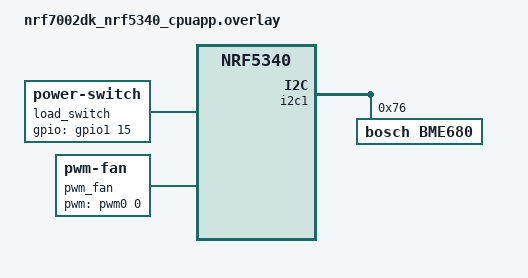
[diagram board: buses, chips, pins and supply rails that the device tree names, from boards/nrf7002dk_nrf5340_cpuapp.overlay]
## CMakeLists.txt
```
#
# Copyright (c) 2021 Nordic Semiconductor ASA
#
# SPDX-License-Identifier: LicenseRef-Nordic-5-Clause
#

cmake_minimum_required(VERSION 3.20.0)

get_filename_component(MATTER_MODULE_ROOT $ENV{ZEPHYR_BASE}/../modules/lib/matter REALPATH)

# Set Kconfig root files that will be processed as a first Kconfig for used child images.
set(mcuboot_KCONFIG_ROOT ${MATTER_MODULE_ROOT}/config/nrfconnect/chip-module/Kconfig.mcuboot.root)
set(multiprotocol_rpmsg_KCONFIG_ROOT ${MATTER_MODULE_ROOT}/config/nrfconnect/chip-module/Kconfig.multiprotocol_rpmsg.root)
set(hci_rpmsg_KCONFIG_ROOT ${MATTER_MODULE_ROOT}/config/nrfconnect/chip-module/Kconfig.hci_rpmsg.root)

# For prj.conf the CONF_FILE is empty. In other case extract the exact file name from the path string.
if(CONF_FILE)
    get_filename_component(CONFIG_FILE_NAME ${CONF_FILE} NAME)
endif()

if(NOT CONFIG_FILE_NAME STREQUAL "prj_no_dfu.conf")
    set(PM_STATIC_YML_FILE ${CMAKE_CURRENT_SOURCE_DIR}/configuration/${BOARD}/pm_static_dfu.yml)
endif()

find_package(Zephyr HINTS $ENV{ZEPHYR_BASE})

project(matter-template)

set(COMMON_ROOT ${ZEPHYR_NRF_MODULE_DIR}/samples/matter/common)
set(NLIO_ROOT ${MATTER_MODULE_ROOT}/third_party/nlio/repo)
include(${MATTER_MODULE_ROOT}/config/nrfconnect/app/enable-gnu-std.cmake)
include(${MATTER_MODULE_ROOT}/src/app/chip_data_model.cmake)

# NORDIC SDK APP START
target_include_directories(app PRIVATE
    src
    ${COMMON_ROOT}/src
    ${NLIO_ROOT}/include
    ${MATTER_MODULE_ROOT}/zzz_generated/app-common
)

target_sources(app PRIVATE
    src/app_task.cpp
    src/main.cpp
    src/zcl_callbacks.cpp
    src/zap-generated/IMClusterCommandHandler.cpp
    src/zap-generated/callback-stub.cpp
    ${COMMON_ROOT}/src/led_widget.cpp
)

if(CONFIG_CHIP_OTA_REQUESTOR)
    target_sources(app PRIVATE ${COMMON_ROOT}/src/ota_util.cpp)
endif()

chip_configure_data_model(app
    INCLUDE_SERVER
    BYPASS_IDL
    GEN_DIR src/zap-generated
    ZAP_FILE ${CMAKE_CURRENT_SOURCE_DIR}/src/plant-cabinet-controller.zap
)
# NORDIC SDK APP END
```

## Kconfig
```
#
# Copyright (c) 2022 Nordic Semiconductor
#
# SPDX-License-Identifier: LicenseRef-Nordic-5-Clause
#
mainmenu "Matter nRF Connect Template Example Application"

# Sample configuration used for Thread networking
if NET_L2_OPENTHREAD

choice OPENTHREAD_NORDIC_LIBRARY_CONFIGURATION
	default OPENTHREAD_NORDIC_LIBRARY_MTD
endchoice

choice OPENTHREAD_DEVICE_TYPE
	default OPENTHREAD_MTD
endchoice

endif # NET_L2_OPENTHREAD

source "${ZEPHYR_BASE}/../modules/lib/matter/config/nrfconnect/chip-module/Kconfig.features"
source "${ZEPHYR_BASE}/../modules/lib/matter/config/nrfconnect/chip-module/Kconfig.defaults"
source "Kconfig.zephyr"

module = APP
module-str = APP
source "subsys/logging/Kconfig.template.log_config"
```

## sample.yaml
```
sample:
  description: Matter Template sample
  name: Matter Template
tests:
  # Excluded in quarantine.yaml to limit resources usage in integration builds
  sample.matter.template.release:
    build_only: true
    extra_args: CONF_FILE=prj_release.conf
    integration_platforms:
      - nrf7002dk_nrf5340_cpuapp
    platform_allow: nrf7002dk_nrf5340_cpuapp
  sample.matter.template.no_dfu:
    build_only: true
    extra_args: CONF_FILE=prj_no_dfu.conf
    integration_platforms:
      - nrf21540dk_nrf52840
    platform_allow: >
      nrf52840dk_nrf52840 nrf21540dk_nrf52840 nrf5340dk_nrf5340_cpuapp nrf7002dk_nrf5340_cpuapp
  sample.matter.template.debug:
    build_only: true
    integration_platforms:
      - nrf7002dk_nrf5340_cpuapp
    platform_allow: nrf7002dk_nrf5340_cpuapp
```

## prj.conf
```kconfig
#
# Copyright (c) 2021 Nordic Semiconductor ASA
#
# SPDX-License-Identifier: LicenseRef-Nordic-5-Clause
#

# This sample uses Kconfig.defaults to set options common for all
# samples. This file should contain only options specific for this sample
# or overrides of default values.

# Enable CHIP
CONFIG_CHIP=y
CONFIG_CHIP_ENABLE_PAIRING_AUTOSTART=y
CONFIG_CHIP_PROJECT_CONFIG="src/chip_project_config.h"
# 32768 == 0x8000 (example Product ID added temporaly,
# but it must be changed with proper PID from the list:
# https://github.com/project-chip/connectedhomeip/blob/482e6fd03196a6de45465a90003947ef4b86e0b1/docs/examples/discussion/PID_allocation_for_example_apps.md)
CONFIG_CHIP_DEVICE_PRODUCT_ID=32768
CONFIG_STD_CPP14=y

# Add support for LEDs and buttons on Nordic development kits
CONFIG_DK_LIBRARY=y

# Bluetooth Low Energy configuration
CONFIG_BT_DEVICE_NAME="PlantCabinet"

# Other settings
CONFIG_THREAD_NAME=y
CONFIG_MPU_STACK_GUARD=y
CONFIG_RESET_ON_FATAL_ERROR=n
CONFIG_CHIP_LIB_SHELL=y

# Disable NFC commissioning
CONFIG_CHIP_NFC_COMMISSIONING=n

# Reduce application size
CONFIG_USE_SEGGER_RTT=n

# Logging
CONFIG_APP_LOG_LEVEL_DBG=y

# Sensor
CONFIG_I2C=y
CONFIG_SENSOR=y

# GPIO
CONFIG_GPIO=y

# PWM
CONFIG_PWM=y
```

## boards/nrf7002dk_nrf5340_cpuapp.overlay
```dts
/*
 * Copyright (c) 2023 Philipp Manstein <philipp.gm@gmail.com>
 *
 * SPDX-License-Identifier: LicenseRef-Nordic-5-Clause
 */

#include <zephyr/dt-bindings/ipc_service/static_vrings.h>

/ {
	chosen {
		nordic,pm-ext-flash = &mx25r64;
	};

	load_switch: load_switch {
		compatible = "power-switch";
		gpios = <&gpio1 15 GPIO_ACTIVE_HIGH>;
	};

	pwm_fan: pwm_fan {
		compatible = "pwm-fan";
		pwms = <&pwm0 0 PWM_MSEC(20) PWM_POLARITY_NORMAL>;
		off-pulse = <PWM_USEC(0)>;
		low-pulse = <PWM_USEC(500)>;
		mid-pulse = <PWM_USEC(1250)>;
		high-pulse = <PWM_USEC(2500)>;
	};
};

/* Set IPC thread priority to the highest value to not collide with other threads. */
&ipc0 {
	zephyr,priority = <0 PRIO_COOP>;
};

&i2c1 {
	bme680@76 {
		compatible = "bosch,bme680";
		reg = <0x76>;
	};
};
```

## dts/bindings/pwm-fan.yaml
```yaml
# Copyright (c) 2023 Philipp Manstein
# SPDX-License-Identifier: Apache-2.0

description: PWM-driven fan control.

compatible: "pwm-fan"

include: base.yaml

properties:
  pwms:
    required: true
    type: phandle-array
    description: PWM specifier driving the fan.

  off-pulse:
    required: true
    type: int
    description: Off pulse width (nanoseconds).

  low-pulse:
    required: true
    type: int
    description: Low pulse width (nanoseconds).

  mid-pulse:
    required: true
    type: int
    description: Mid pulse width (nanoseconds).

  high-pulse:
    required: true
    type: int
    description: High pulse width (nanoseconds).
```

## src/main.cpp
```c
/*
 * Copyright (c) 2021 Nordic Semiconductor ASA
 *
 * SPDX-License-Identifier: LicenseRef-Nordic-5-Clause
 */

#include "app_task.h"

#include <zephyr/logging/log.h>

LOG_MODULE_REGISTER(app, CONFIG_APP_LOG_LEVEL);

int main()
{
	CHIP_ERROR err = AppTask::Instance().StartApp();

	LOG_ERR("Exited with code %" CHIP_ERROR_FORMAT, err.Format());
	return err == CHIP_NO_ERROR ? EXIT_SUCCESS : EXIT_FAILURE;
}
```

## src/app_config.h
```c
/*
 * Copyright (c) 2022 Nordic Semiconductor ASA
 *
 * SPDX-License-Identifier: LicenseRef-Nordic-5-Clause
 */

#pragma once

/* ---- Template App Config ---- */

#include "board_util.h"

#define FUNCTION_BUTTON DK_BTN1
#define FUNCTION_BUTTON_MASK DK_BTN1_MSK

#define SYSTEM_STATE_LED DK_LED1
#define FACTORY_RESET_SIGNAL_LED DK_LED2
```

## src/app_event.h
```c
/*
 * Copyright (c) 2021 Nordic Semiconductor ASA
 *
 * SPDX-License-Identifier: LicenseRef-Nordic-5-Clause
 */

#pragma once

#include <cstdint>

#include "event_types.h"

class LEDWidget;

enum class AppEventType : uint8_t {
	None = 0,
	Button,
	ButtonPushed,
	ButtonReleased,
	Timer,
	UpdateLedState,
	SensorMeasure,
	RelayOn,
	RelayOff,
	ControlFan
};

enum class ControlFanMode : uint8_t { Off = 0, Low, Mid, High };

enum class FunctionEvent : uint8_t { NoneSelected = 0, FactoryReset };

struct AppEvent {
	union {
		struct {
			uint8_t PinNo;
			uint8_t Action;
		} ButtonEvent;
		struct {
			void *Context;
		} TimerEvent;
		struct {
			LEDWidget *LedWidget;
		} UpdateLedStateEvent;
		struct {
			::ControlFanMode ControlFanMode;
		} ControlFanModeEvent;
	};

	AppEventType Type{ AppEventType::None };
	EventHandler Handler;
};
```

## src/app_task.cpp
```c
/*
 * Copyright (c) 2021 Nordic Semiconductor ASA
 *
 * SPDX-License-Identifier: LicenseRef-Nordic-5-Clause
 */

#include "app_task.h"
#include "app_config.h"
#include "led_util.h"

#include <platform/CHIPDeviceLayer.h>

#include "board_util.h"
#include <app-common/zap-generated/attributes/Accessors.h>
#include <app-common/zap-generated/cluster-objects.h>
#include <app/server/OnboardingCodesUtil.h>
#include <app/server/Server.h>
#include <credentials/DeviceAttestationCredsProvider.h>
#include <credentials/examples/DeviceAttestationCredsExample.h>
#include <lib/support/CHIPMem.h>
#include <lib/support/CodeUtils.h>
#include <system/SystemError.h>

#ifdef CONFIG_CHIP_WIFI
#include <app/clusters/network-commissioning/network-commissioning.h>
#include <platform/nrfconnect/wifi/NrfWiFiDriver.h>
#endif

#ifdef CONFIG_CHIP_OTA_REQUESTOR
#include "ota_util.h"
#endif

#include <dk_buttons_and_leds.h>
#include <zephyr/drivers/gpio.h>
#include <zephyr/drivers/pwm.h>
#include <zephyr/drivers/sensor.h>
#include <zephyr/kernel.h>
#include <zephyr/logging/log.h>

LOG_MODULE_DECLARE(app, CONFIG_APP_LOG_LEVEL);

using namespace ::chip;
using namespace ::chip::app;
using namespace ::chip::Credentials;
using namespace ::chip::DeviceLayer;

namespace
{
constexpr size_t kAppEventQueueSize = 10;
constexpr uint32_t kFactoryResetTriggerTimeout = 6000;

K_MSGQ_DEFINE(sAppEventQueue, sizeof(AppEvent), kAppEventQueueSize, alignof(AppEvent));
k_timer sFunctionTimer;
k_timer sSensorTimer;

LEDWidget sStatusLED;
FactoryResetLEDsWrapper<1> sFactoryResetLEDs{ { FACTORY_RESET_SIGNAL_LED } };

bool sIsNetworkProvisioned = false;
bool sIsNetworkEnabled = false;
bool sHaveBLEConnections = false;

const struct device *sBme680SensorDev = DEVICE_DT_GET_ONE(bosch_bme680);

static const struct gpio_dt_spec load_switch = GPIO_DT_SPEC_GET(DT_NODELABEL(load_switch), gpios);

static const struct pwm_dt_spec pwm_fan = PWM_DT_SPEC_GET(DT_NODELABEL(pwm_fan));
static const uint32_t off_pulse = DT_PROP(DT_NODELABEL(pwm_fan), off_pulse);
static const uint32_t low_pulse = DT_PROP(DT_NODELABEL(pwm_fan), low_pulse);
static const uint32_t mid_pulse = DT_PROP(DT_NODELABEL(pwm_fan), mid_pulse);
static const uint32_t high_pulse = DT_PROP(DT_NODELABEL(pwm_fan), high_pulse);
} /* namespace */

namespace LedConsts
{
namespace StatusLed
{
	namespace Unprovisioned
	{
		constexpr uint32_t kOn_ms{ 100 };
		constexpr uint32_t kOff_ms{ kOn_ms };
	} /* namespace Unprovisioned */
	namespace Provisioned
	{
		constexpr uint32_t kOn_ms{ 50 };
		constexpr uint32_t kOff_ms{ 950 };
	} /* namespace Provisioned */

} /* namespace StatusLed */
} /* namespace LedConsts */

#ifdef CONFIG_CHIP_WIFI
app::Clusters::NetworkCommissioning::Instance
	sWiFiCommissioningInstance(0, &(NetworkCommissioning::NrfWiFiDriver::Instance()));
#endif

CHIP_ERROR AppTask::Init()
{
	/* Initialize CHIP stack */
	LOG_INF("Init CHIP stack");

	CHIP_ERROR err = chip::Platform::MemoryInit();
	if (err != CHIP_NO_ERROR) {
		LOG_ERR("Platform::MemoryInit() failed");
		return err;
	}

	err = PlatformMgr().InitChipStack();
	if (err != CHIP_NO_ERROR) {
		LOG_ERR("PlatformMgr().InitChipStack() failed");
		return err;
	}

#if defined(CONFIG_NET_L2_OPENTHREAD)
	err = ThreadStackMgr().InitThreadStack();
	if (err != CHIP_NO_ERROR) {
		LOG_ERR("ThreadStackMgr().InitThreadStack() failed: %s", ErrorStr(err));
		return err;
	}

#ifdef CONFIG_OPENTHREAD_MTD_SED
	err = ConnectivityMgr().SetThreadDeviceType(ConnectivityManager::kThreadDeviceType_SleepyEndDevice);
#elif CONFIG_OPENTHREAD_MTD
	err = ConnectivityMgr().SetThreadDeviceType(ConnectivityManager::kThreadDeviceType_MinimalEndDevice);
#else
	err = ConnectivityMgr().SetThreadDeviceType(ConnectivityManager::kThreadDeviceType_Router);
#endif /* CONFIG_OPENTHREAD_MTD_SED */
	if (err != CHIP_NO_ERROR) {
		LOG_ERR("ConnectivityMgr().SetThreadDeviceType() failed: %s", ErrorStr(err));
		return err;
	}

#elif defined(CONFIG_CHIP_WIFI)
	sWiFiCommissioningInstance.Init();
#else
	return CHIP_ERROR_INTERNAL;
#endif /* CONFIG_NET_L2_OPENTHREAD */

	/* Initialize LEDs */
	LEDWidget::InitGpio();
	LEDWidget::SetStateUpdateCallback(LEDStateUpdateHandler);

	sStatusLED.Init(SYSTEM_STATE_LED);

	UpdateStatusLED();

	/* Initialize buttons */
	int ret = dk_buttons_init(ButtonEventHandler);
	if (ret) {
		LOG_ERR("dk_buttons_init() failed");
		return chip::System::MapErrorZephyr(ret);
	}

	/* Initialize  BME680 sensor*/
	if (!device_is_ready(sBme680SensorDev)) {
		LOG_ERR("BME680 sensor device not ready");
		return chip::System::MapErrorZephyr(-ENODEV);
	}

	/* Initialiaze LED relay */
	if (!gpio_is_ready_dt(&load_switch)) {
		LOG_ERR("The load switch pin GPIO port is not ready");
		return chip::System::MapErrorZephyr(-ENODEV);
	}

	ret = gpio_pin_configure_dt(&load_switch, GPIO_OUTPUT_INACTIVE);
	if (ret != 0) {
		LOG_ERR("Configuring GPIO pin failed: %d", ret);
		return chip::System::MapErrorZephyr(-ENODEV);
	}

	/* Initialize PWM fan */
	if (!device_is_ready(pwm_fan.dev)) {
		LOG_ERR("PWM fan device not ready");
		return chip::System::MapErrorZephyr(-ENODEV);
	}

	ret = pwm_set_pulse_dt(&pwm_fan, 0u);

	/* Initialize function timer */
	k_timer_init(&sFunctionTimer, &AppTask::FunctionTimerTimeoutCallback, nullptr);
	k_timer_user_data_set(&sFunctionTimer, this);

	/* Initialize sensor timer */
	k_timer_init(&sSensorTimer, &AppTask::SensorTimerTimeoutCallback, nullptr);
	k_timer_user_data_set(&sSensorTimer, this);
	/* Start sensor timer */
	k_timer_start(&sSensorTimer, K_SECONDS(2), K_SECONDS(5));

	/* Initialize CHIP server */
#if CONFIG_CHIP_FACTORY_DATA
	ReturnErrorOnFailure(mFactoryDataProvider.Init());
	SetDeviceInstanceInfoProvider(&mFactoryDataProvider);
	SetDeviceAttestationCredentialsProvider(&mFactoryDataProvider);
	SetCommissionableDataProvider(&mFactoryDataProvider);
#else
	SetDeviceInstanceInfoProvider(&DeviceInstanceInfoProviderMgrImpl());
	SetDeviceAttestationCredentialsProvider(Examples::GetExampleDACProvider());
#endif

	static chip::CommonCaseDeviceServerInitParams initParams;
	(void)initParams.InitializeStaticResourcesBeforeServerInit();

	ReturnErrorOnFailure(chip::Server::GetInstance().Init(initParams));
	ConfigurationMgr().LogDeviceConfig();
	PrintOnboardingCodes(chip::RendezvousInformationFlags(chip::RendezvousInformationFlag::kBLE));

	/*
	 * Add CHIP event handler and start CHIP thread.
	 * Note that all the initialization code should happen prior to this point to avoid data races
	 * between the main and the CHIP threads.
	 */
	PlatformMgr().AddEventHandler(ChipEventHandler, 0);

	err = PlatformMgr().StartEventLoopTask();
	if (err != CHIP_NO_ERROR) {
		LOG_ERR("PlatformMgr().StartEventLoopTask() failed");
		return err;
	}

	return CHIP_NO_ERROR;
}

CHIP_ERROR AppTask::StartApp()
{
	ReturnErrorOnFailure(Init());

	AppEvent event = {};

	while (true) {
		k_msgq_get(&sAppEventQueue, &event, K_FOREVER);
		DispatchEvent(event);
	}

	return CHIP_NO_ERROR;
}

void AppTask::ButtonEventHandler(uint32_t buttonState, uint32_t hasChanged)
{
	AppEvent button_event;
	button_event.Type = AppEventType::Button;

	if (FUNCTION_BUTTON_MASK & hasChanged) {
		button_event.ButtonEvent.PinNo = FUNCTION_BUTTON;
		button_event.ButtonEvent.Action =
			static_cast<uint8_t>((FUNCTION_BUTTON_MASK & buttonState) ? AppEventType::ButtonPushed :
										    AppEventType::ButtonReleased);
		button_event.Handler = FunctionHandler;
		PostEvent(button_event);
	}
}

void AppTask::FunctionTimerTimeoutCallback(k_timer *timer)
{
	if (!timer) {
		return;
	}

	AppEvent event;
	event.Type = AppEventType::Timer;
	event.TimerEvent.Context = k_timer_user_data_get(timer);
	event.Handler = FunctionTimerEventHandler;
	PostEvent(event);
}

void AppTask::FunctionTimerEventHandler(const AppEvent &)
{
	if (Instance().mFunction == FunctionEvent::FactoryReset) {
		Instance().mFunction = FunctionEvent::NoneSelected;
		LOG_INF("Factory Reset triggered");

		sStatusLED.Set(true);
		sFactoryResetLEDs.Set(true);

		chip::Server::GetInstance().ScheduleFactoryReset();
	}
}

void AppTask::SensorTimerTimeoutCallback(k_timer *timer)
{
	if (!timer) {
		return;
	}

	AppEvent event;
	event.Type = AppEventType::Timer;
	event.TimerEvent.Context = k_timer_user_data_get(timer);
	event.Handler = SensorMeasureHandler;
	PostEvent(event);
}

void AppTask::SensorMeasureHandler(const AppEvent &)
{
	const int result = sensor_sample_fetch(sBme680SensorDev);
	if (result != 0) {
		LOG_ERR("Fetching data from BME688 sensor failed with: %d", result);
		return;
	}

	UpdateTemperatureClusterState();
	UpdatePressureClusterState();
	UpdateHumidityClusterState();
}

void AppTask::UpdateTemperatureClusterState()
{
	struct sensor_value sTemperature;

	int result = sensor_channel_get(sBme680SensorDev, SENSOR_CHAN_AMBIENT_TEMP, &sTemperature);
	if (result != 0) {
		LOG_ERR("Getting temperature measurement data from BME688 failed with: %d", result);
		return;
	}

	/* Defined by cluster temperature measured value = 100 x temperature in degC with resolution of
	 * 0.01 degC. val1 is an integer part of the value and val2 is fractional part in one-millionth
	 * parts. To achieve resolution of 0.01 degC val2 needs to be divided by 10000. */
	int16_t temperature = static_cast<int16_t>(sTemperature.val1 * 100 + sTemperature.val2 / 10000);
	LOG_DBG("Temperature: %d,%d °C", sTemperature.val1, sTemperature.val2);

	EmberAfStatus status = Clusters::TemperatureMeasurement::Attributes::MeasuredValue::Set(1, temperature);
	if (status != EMBER_ZCL_STATUS_SUCCESS) {
		LOG_ERR("Updating temperature measurement %x", status);
	}
}

void AppTask::UpdatePressureClusterState()
{
	struct sensor_value sPressure;

	int result = sensor_channel_get(sBme680SensorDev, SENSOR_CHAN_PRESS, &sPressure);
	if (result != 0) {
		LOG_ERR("Getting pressure measurement data from BME688 failed with: %d", result);
		return;
	}

	/* Defined by cluster pressure measured value = 10 x pressure in kPa with resolution of 0.1 kPa.
	 * val1 is an integer part of the value and val2 is fractional part in one-millionth parts.
	 * To achieve resolution of 0.1 kPa val2 needs to be divided by 100000. */
	int16_t pressure = static_cast<int16_t>(sPressure.val1 * 10 + sPressure.val2 / 100000);
	LOG_DBG("Pressure: %d,%d kPa", sPressure.val1, sPressure.val2);

	EmberAfStatus status = Clusters::PressureMeasurement::Attributes::MeasuredValue::Set(2, pressure);
	if (status != EMBER_ZCL_STATUS_SUCCESS) {
		LOG_ERR("Updating pressure measurement %x", status);
	}
}

void AppTask::UpdateHumidityClusterState()
{
	struct sensor_value sHumidity;

	int result = sensor_channel_get(sBme680SensorDev, SENSOR_CHAN_HUMIDITY, &sHumidity);
	if (result != 0) {
		LOG_ERR("Getting humidity measurement data from BME688 failed with: %d", result);
		return;
	}

	/* Defined by cluster humidity measured value = 100 x humidity in %RH with resolution of 0.01 %.
	 * val1 is an integer part of the value and val2 is fractional part in one-millionth parts.
	 * To achieve resolution of 0.01 % val2 needs to be divided by 10000. */
	uint16_t humidity = static_cast<int16_t>(sHumidity.val1 * 100 + sHumidity.val2 / 10000);
	LOG_DBG("Humidity: %d,%d %% rel", sHumidity.val1, sHumidity.val2);

	EmberAfStatus status = Clusters::RelativeHumidityMeasurement::Attributes::MeasuredValue::Set(3, humidity);
	if (status != EMBER_ZCL_STATUS_SUCCESS) {
		LOG_ERR("Updating humidity measurement %x", status);
	}
}

void AppTask::RelayOnHandler(const AppEvent &)
{
	LOG_DBG("Turning relay on");

	int err = gpio_pin_set_dt(&load_switch, 1);
	if (err != 0) {
		LOG_ERR("Setting GPIO pin on failed: %d", err);
		return;
	}
}

void AppTask::RelayOffHandler(const AppEvent &)
{
	LOG_DBG("Turning relay off");

	int err = gpio_pin_set_dt(&load_switch, 0);
	if (err != 0) {
		LOG_ERR("Setting GPIO pin off failed: %d", err);
		return;
	}
}

void AppTask::FanModeHandler(const AppEvent &event)
{
	// LOG_DBG("Setting fan pwm to state: %d", event.FanModeEvent.FanMode);
	int err;

	switch (event.ControlFanModeEvent.ControlFanMode) {
	case ControlFanMode::Off:
		err = pwm_set_pulse_dt(&pwm_fan, off_pulse);
		break;
	case ControlFanMode::Low:
		err = pwm_set_pulse_dt(&pwm_fan, low_pulse);
		break;
	case ControlFanMode::Mid:
		err = pwm_set_pulse_dt(&pwm_fan, mid_pulse);
		break;
	case ControlFanMode::High:
		err = pwm_set_pulse_dt(&pwm_fan, high_pulse);
		break;
	}

	if (err != 0) {
		LOG_ERR("Setting fan PWM state failed: %d", err);
		return;
	}
}

void AppTask::FunctionHandler(const AppEvent &event)
{
	if (event.ButtonEvent.PinNo != FUNCTION_BUTTON)
		return;

	if (event.ButtonEvent.Action == static_cast<uint8_t>(AppEventType::ButtonPushed)) {
		Instance().StartTimer(kFactoryResetTriggerTimeout);
		Instance().mFunction = FunctionEvent::FactoryReset;
	} else if (event.ButtonEvent.Action == static_cast<uint8_t>(AppEventType::ButtonReleased)) {
		if (Instance().mFunction == FunctionEvent::FactoryReset) {
			sFactoryResetLEDs.Set(false);
			UpdateStatusLED();
			Instance().CancelTimer();
			Instance().mFunction = FunctionEvent::NoneSelected;
			LOG_INF("Factory Reset has been Canceled");
		}
	}
}

void AppTask::LEDStateUpdateHandler(LEDWidget &ledWidget)
{
	AppEvent event;
	event.Type = AppEventType::UpdateLedState;
	event.Handler = UpdateLedStateEventHandler;
	event.UpdateLedStateEvent.LedWidget = &ledWidget;
	PostEvent(event);
}

void AppTask::UpdateLedStateEventHandler(const AppEvent &event)
{
	if (event.Type == AppEventType::UpdateLedState) {
		event.UpdateLedStateEvent.LedWidget->UpdateState();
	}
}

void AppTask::UpdateStatusLED()
{
	/* Update the status LED.
	 *
	 * If IPv6 networking and service provisioned, keep the LED On constantly.
	 *
	 * If the system has BLE connection(s) uptill the stage above, THEN blink the LED at an even
	 * rate of 100ms.
	 *
	 * Otherwise, blink the LED for a very short time. */
	if (sIsNetworkProvisioned && sIsNetworkEnabled) {
		sStatusLED.Set(true);
	} else if (sHaveBLEConnections) {
		sStatusLED.Blink(LedConsts::StatusLed::Unprovisioned::kOn_ms,
				 LedConsts::StatusLed::Unprovisioned::kOff_ms);
	} else {
		sStatusLED.Blink(LedConsts::StatusLed::Provisioned::kOn_ms, LedConsts::StatusLed::Provisioned::kOff_ms);
	}
}

void AppTask::ChipEventHandler(const ChipDeviceEvent *event, intptr_t /* arg */)
{
	switch (event->Type) {
	case DeviceEventType::kCHIPoBLEAdvertisingChange:
		sHaveBLEConnections = ConnectivityMgr().NumBLEConnections() != 0;
		UpdateStatusLED();
		break;
#if defined(CONFIG_NET_L2_OPENTHREAD)
	case DeviceEventType::kDnssdInitialized:
#if CONFIG_CHIP_OTA_REQUESTOR
		InitBasicOTARequestor();
#endif /* CONFIG_CHIP_OTA_REQUESTOR */
		break;
	case DeviceEventType::kThreadStateChange:
		sIsNetworkProvisioned = ConnectivityMgr().IsThreadProvisioned();
		sIsNetworkEnabled = ConnectivityMgr().IsThreadEnabled();
#elif defined(CONFIG_CHIP_WIFI)
	case DeviceEventType::kWiFiConnectivityChange:
		sIsNetworkProvisioned = ConnectivityMgr().IsWiFiStationProvisioned();
		sIsNetworkEnabled = ConnectivityMgr().IsWiFiStationEnabled();
#if CONFIG_CHIP_OTA_REQUESTOR
		if (event->WiFiConnectivityChange.Result == kConnectivity_Established) {
			InitBasicOTARequestor();
		}
#endif /* CONFIG_CHIP_OTA_REQUESTOR */
#endif
		UpdateStatusLED();
		break;
	default:
		break;
	}
}

void AppTask::CancelTimer()
{
	k_timer_stop(&sFunctionTimer);
}

void AppTask::StartTimer(uint32_t timeoutInMs)
{
	k_timer_start(&sFunctionTimer, K_MSEC(timeoutInMs), K_NO_WAIT);
}

void AppTask::PostEvent(const AppEvent &event)
{
	if (k_msgq_put(&sAppEventQueue, &event, K_NO_WAIT) != 0) {
		LOG_INF("Failed to post event to app task event queue");
	}
}

void AppTask::DispatchEvent(const AppEvent &event)
{
	if (event.Handler) {
		event.Handler(event);
	} else {
		LOG_INF("Event received with no handler. Dropping event.");
	}
}
```

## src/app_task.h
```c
/*
 * Copyright (c) 2021 Nordic Semiconductor ASA
 *
 * SPDX-License-Identifier: LicenseRef-Nordic-5-Clause
 */

#pragma once

#include "app_event.h"
#include "led_widget.h"

#include <platform/CHIPDeviceLayer.h>

#if CONFIG_CHIP_FACTORY_DATA
#include <platform/nrfconnect/FactoryDataProvider.h>
#else
#include <platform/nrfconnect/DeviceInstanceInfoProviderImpl.h>
#endif

struct k_timer;

class AppTask {
public:
	static AppTask &Instance()
	{
		static AppTask sAppTask;
		return sAppTask;
	};

	CHIP_ERROR StartApp();

	static void PostEvent(const AppEvent &event);

	static void RelayOnHandler(const AppEvent &event);
	static void RelayOffHandler(const AppEvent &event);

	static void FanModeHandler(const AppEvent &event);

private:
	CHIP_ERROR Init();

	void CancelTimer();
	void StartTimer(uint32_t timeoutInMs);

	static void DispatchEvent(const AppEvent &event);
	static void UpdateLedStateEventHandler(const AppEvent &event);
	static void FunctionHandler(const AppEvent &event);
	static void FunctionTimerEventHandler(const AppEvent &event);
	static void SensorMeasureHandler(const AppEvent &event);

	static void ChipEventHandler(const chip::DeviceLayer::ChipDeviceEvent *event, intptr_t arg);
	static void ButtonEventHandler(uint32_t buttonState, uint32_t hasChanged);
	static void LEDStateUpdateHandler(LEDWidget &ledWidget);
	static void FunctionTimerTimeoutCallback(k_timer *timer);
	static void SensorTimerTimeoutCallback(k_timer *timer);
	static void UpdateStatusLED();
	static void UpdateTemperatureClusterState();
	static void UpdatePressureClusterState();
	static void UpdateHumidityClusterState();

	FunctionEvent mFunction = FunctionEvent::NoneSelected;
	bool mFunctionTimerActive = false;

#if CONFIG_CHIP_FACTORY_DATA
	chip::DeviceLayer::FactoryDataProvider<chip::DeviceLayer::InternalFlashFactoryData> mFactoryDataProvider;
#endif
};
```

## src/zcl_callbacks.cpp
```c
#include "app_task.h"

#include <app-common/zap-generated/attributes/Accessors.h>
#include <app-common/zap-generated/ids/Attributes.h>
#include <app-common/zap-generated/ids/Clusters.h>
#include <app/ConcreteAttributePath.h>

using namespace ::chip;
using namespace ::chip::app::Clusters;

void MatterPostAttributeChangeCallback(const chip::app::ConcreteAttributePath &attributePath, uint8_t type,
				       uint16_t size, uint8_t *value)
{
	if (attributePath.mClusterId == OnOff::Id && attributePath.mAttributeId == OnOff::Attributes::OnOff::Id &&
	    attributePath.mEndpointId == 4) {
		AppEvent event;
		if (*value) {
			event.Type = AppEventType::RelayOn;
			event.Handler = AppTask::RelayOnHandler;
		} else {
			event.Type = AppEventType::RelayOff;
			event.Handler = AppTask::RelayOffHandler;
		}
		AppTask::Instance().PostEvent(event);
		return;
	}

	if (attributePath.mClusterId == FanControl::Id &&
	    attributePath.mAttributeId == FanControl::Attributes::FanMode::Id && attributePath.mEndpointId == 5) {
		if (*value < 0 || *value > 4) {
			return;
		}

		AppEvent event;
		event.Type = AppEventType::ControlFan;
		event.Handler = AppTask::FanModeHandler;
		event.ControlFanModeEvent.ControlFanMode = static_cast<::ControlFanMode>(*value);
		AppTask::Instance().PostEvent(event);
		return;
	}
}

/** @brief OnOff Cluster Init
 *
 * This function is called when a specific cluster is initialized. It gives the
 * application an opportunity to take care of cluster initialization procedures.
 * It is called exactly once for each endpoint where cluster is present.
 */
void emberAfOnOffClusterInitCallback(EndpointId endpoint)
{
	// EmberAfStatus status;
	// bool storedValue;

	// /* Read storedValue on/off value */
	// status = ::OnOff::Attributes::OnOff::Get(endpoint, &storedValue);
	// if (status == EMBER_ZCL_STATUS_SUCCESS) {
	// 	/* Set actual state to the cluster state that was last persisted */
	// 	AppEvent event;
	// 	if (status) {
	// 		event.Type = AppEventType::RelayOn;
	// 		event.Handler = AppTask::RelayOnHandler;
	// 	} else {
	// 		event.Type = AppEventType::RelayOff;
	// 		event.Handler = AppTask::RelayOffHandler;
	// 	}
	// 	AppTask::Instance().PostEvent(event);
	// }
}
```
